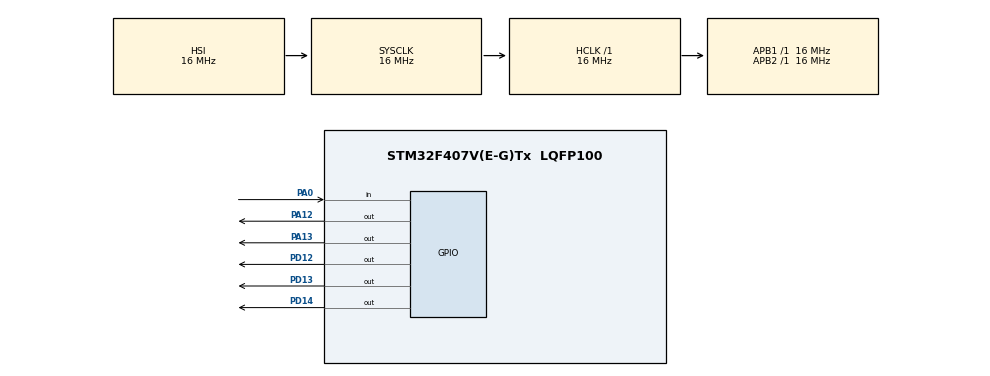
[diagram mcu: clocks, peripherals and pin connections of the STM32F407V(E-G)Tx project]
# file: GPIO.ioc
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Mcu.Family=STM32F4
RCC.CortexFreq_Value=16000000
ProjectManager.StackSize=0x400
PA0-WKUP.Signal=GPIO_Input
PD13.Signal=GPIO_Output
PA13.Signal=GPIO_Output
PA12.Signal=GPIO_Output
ProjectManager.TargetToolchain=MDK-ARM V5
RCC.LSE_VALUE=32768
RCC.AHBFreq_Value=16000000
RCC.HSE_VALUE=25000000
board=custom
RCC.VCOOutputFreq_Value=192000000
RCC.APB2Freq_Value=16000000
Mcu.Name=STM32F407V(E-G)Tx
PD14.Signal=GPIO_Output
RCC.SYSCLKFreq_VALUE=16000000
Mcu.Package=LQFP100
PD12.Signal=GPIO_Output
ProjectManager.HeapSize=0x200
RCC.HSI_VALUE=16000000
NVIC.PriorityGroup=NVIC_PRIORITYGROUP_4
RCC.APB1Freq_Value=16000000

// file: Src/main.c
/* USER CODE BEGIN Header */
/**
  ******************************************************************************
  * @file           : main.c
  * @brief          : Main program body
  ******************************************************************************
  * @attention
  *
  * <h2><center>&copy; Copyright (c) 2020 STMicroelectronics.
  * All rights reserved.</center></h2>
  *
  * This software component is licensed by ST under BSD 3-Clause license,
  * the "License"; You may not use this file except in compliance with the
  * License. You may obtain a copy of the License at:
  *                        opensource.org/licenses/BSD-3-Clause
  *
  ******************************************************************************
  */
/* USER CODE END Header */

#include "main.h"

void SystemClock_Config(void);
static void MX_GPIO_Init(void);

int main(void)
{

  /* MCU Configuration--------------------------------------------------------*/

  /* Reset of all peripherals, Initializes the Flash interface and the Systick. */
  HAL_Init();

  /* Configure the system clock */
  SystemClock_Config();

  /* Initialize all configured peripherals */
  MX_GPIO_Init();

  /* Infinite loop */
  while (1)
  {

    /* USER CODE BEGIN 3 */

		//HAL_GPIO_TogglePin(GPIOD,GPIO_PIN_13);
		//HAL_TIMEOUT(750);

		if(HAL_GPIO_ReadPin(GPIOA,GPIO_PIN_0)){

			HAL_GPIO_WritePin(GPIOD, GPIO_PIN_12, GPIO_PIN_SET);
			HAL_Delay(750);
			HAL_GPIO_WritePin(GPIOD,GPIO_PIN_12|GPIO_PIN_13,GPIO_PIN_RESET);
			HAL_Delay(250);
			HAL_GPIO_WritePin(GPIOD,GPIO_PIN_13,GPIO_PIN_SET);
			HAL_Delay(500);
			HAL_GPIO_WritePin(GPIOD,GPIO_PIN_12|GPIO_PIN_13,GPIO_PIN_SET);
			HAL_Delay(1500);
			int counter =0;
			do{
			HAL_GPIO_TogglePin(GPIOD,GPIO_PIN_12|GPIO_PIN_13);
			HAL_Delay(100);
			counter++;
			}while(counter<10);

		}

		//HAL_GPIO_WritePin(GPIOD, GPIO_PIN_12, GPIO_PIN_SET);
		//HAL_Delay(750);
		//HAL_GPIO_WritePin(GPIOD, GPIO_PIN_12, GPIO_PIN_RESET);
		//HAL_GPIO_WritePin(GPIOD, GPIO_PIN_13, GPIO_PIN_SET);
		//HAL_Delay(250);

	//	HAL_GPIO_WritePin(GPIOD,GPIO_PIN_13|GPIO_PIN_12,GPIO_PIN_SET);
	//	HAL_Delay(750);
		//HAL_GPIO_WritePin(GPIOD,GPIO_PIN_12|GPIO_PIN_12,GPIO_PIN_RESET);
		//HAL_Delay(500);

		//if(HAL_GPIO_ReadPin(GPIOA,GPIO_PIN_0)){
			//HAL_GPIO_WritePin(GPIOD,GPIO_PIN_13|GPIO_PIN_12,GPIO_PIN_SET);

		//}else{
			//HAL_GPIO_WritePin(GPIOD,GPIO_PIN_13|GPIO_PIN_12,GPIO_PIN_RESET);
	}

		//HAL_Delay(500);
  //}
  /* USER CODE END 3 */
}

void SystemClock_Config(void)
{
  RCC_OscInitTypeDef RCC_OscInitStruct = {0};
  RCC_ClkInitTypeDef RCC_ClkInitStruct = {0};

  /** Configure the main internal regulator output voltage
  */
  __HAL_RCC_PWR_CLK_ENABLE();
  __HAL_PWR_VOLTAGESCALING_CONFIG(PWR_REGULATOR_VOLTAGE_SCALE1);
  /** Initializes the CPU, AHB and APB busses clocks
  */
  RCC_OscInitStruct.OscillatorType = RCC_OSCILLATORTYPE_HSI;
  RCC_OscInitStruct.HSIState = RCC_HSI_ON;
  RCC_OscInitStruct.HSICalibrationValue = RCC_HSICALIBRATION_DEFAULT;
  RCC_OscInitStruct.PLL.PLLState = RCC_PLL_NONE;
  if (HAL_RCC_OscConfig(&RCC_OscInitStruct) != HAL_OK)
  {
    Error_Handler();
  }
  /** Initializes the CPU, AHB and APB busses clocks
  */
  RCC_ClkInitStruct.ClockType = RCC_CLOCKTYPE_HCLK|RCC_CLOCKTYPE_SYSCLK
                              |RCC_CLOCKTYPE_PCLK1|RCC_CLOCKTYPE_PCLK2;
  RCC_ClkInitStruct.SYSCLKSource = RCC_SYSCLKSOURCE_HSI;
  RCC_ClkInitStruct.AHBCLKDivider = RCC_SYSCLK_DIV1;
  RCC_ClkInitStruct.APB1CLKDivider = RCC_HCLK_DIV1;
  RCC_ClkInitStruct.APB2CLKDivider = RCC_HCLK_DIV1;

  if (HAL_RCC_ClockConfig(&RCC_ClkInitStruct, FLASH_LATENCY_0) != HAL_OK)
  {
    Error_Handler();
  }
}

static void MX_GPIO_Init(void)
{
  GPIO_InitTypeDef GPIO_InitStruct = {0};

  /* GPIO Ports Clock Enable */
  __HAL_RCC_GPIOA_CLK_ENABLE();
  __HAL_RCC_GPIOD_CLK_ENABLE();

  /*Configure GPIO pin Output Level */
  HAL_GPIO_WritePin(GPIOD, GPIO_PIN_12|GPIO_PIN_13|GPIO_PIN_14, GPIO_PIN_RESET);

  /*Configure GPIO pin Output Level */
  HAL_GPIO_WritePin(GPIOA, GPIO_PIN_12|GPIO_PIN_13, GPIO_PIN_RESET);

  /*Configure GPIO pin : PA0 */
  GPIO_InitStruct.Pin = GPIO_PIN_0;
  GPIO_InitStruct.Mode = GPIO_MODE_INPUT;
  GPIO_InitStruct.Pull = GPIO_NOPULL;
  HAL_GPIO_Init(GPIOA, &GPIO_InitStruct);

  /*Configure GPIO pins : PD12 PD13 PD14 */
  GPIO_InitStruct.Pin = GPIO_PIN_12|GPIO_PIN_13|GPIO_PIN_14;
  GPIO_InitStruct.Mode = GPIO_MODE_OUTPUT_PP;
  GPIO_InitStruct.Pull = GPIO_NOPULL;
  GPIO_InitStruct.Speed = GPIO_SPEED_FREQ_LOW;
  HAL_GPIO_Init(GPIOD, &GPIO_InitStruct);

  /*Configure GPIO pins : PA12 PA13 */
  GPIO_InitStruct.Pin = GPIO_PIN_12|GPIO_PIN_13;
  GPIO_InitStruct.Mode = GPIO_MODE_OUTPUT_PP;
  GPIO_InitStruct.Pull = GPIO_NOPULL;
  GPIO_InitStruct.Speed = GPIO_SPEED_FREQ_LOW;
  HAL_GPIO_Init(GPIOA, &GPIO_InitStruct);

}

void Error_Handler(void)
{
}

/************************ (C) COPYRIGHT STMicroelectronics *****END OF FILE****/
